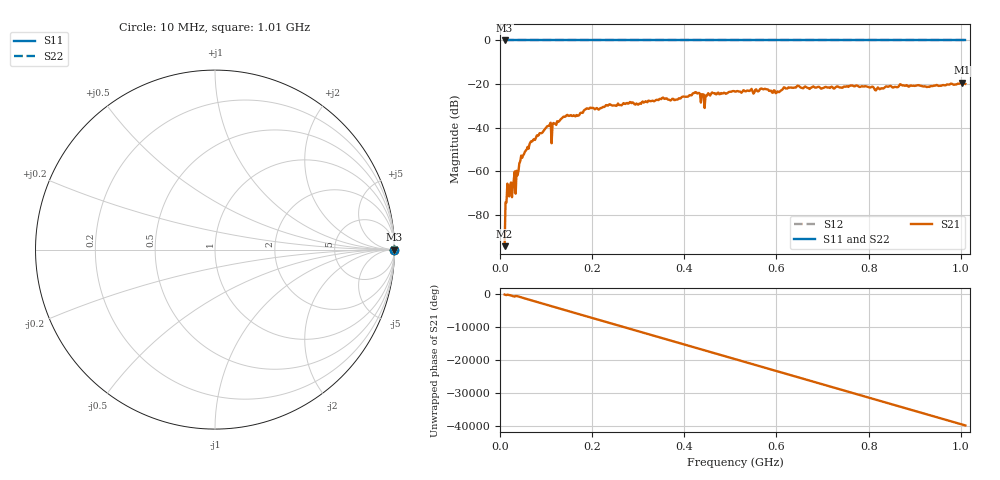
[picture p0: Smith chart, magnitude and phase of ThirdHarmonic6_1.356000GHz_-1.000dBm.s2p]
! 8/16/2025 3:17:35 PM
! C:\ANRITSUVNA\TEMP\TEMP.S2P
! CHANNEL.1
! TR.MEASUREMENT
! RAW.DATA
! RF.CORRECTION.OFF
! AVERAGING.OFF
! IF.BANDWIDTH: 5KHZ
! SWEEPTYPE:  FREQ.SWEEP(Linear)
! Reference Plane Port Info
! PORT:  PORT1  PORT2
! DISTANCE:  0  m  0  m
! TIME:  0  s  0  s
! PHASE.OFFSET:  0  deg.  0  deg.
! LOSS:  0  dB  0  dB
! REF.LOSS:  0  dB  0  dB
! REF.FREQ:  0  Hz  0  Hz
! Power Info
! POWER:  -20  dBm  -20  dBm
! EFF.POWER:  -20  dBm  -20  dBm
! SOURCE.ATTEN:  0  dB  0  dB
! TEST.ATTEN:  0  dB  0  dB
# GHZ S RI R 50.0
! FREQ.GHZ  S11RE  S11IM  S21RE  S21IM  S12RE  S12IM  S22RE  S22IM
!; PortSelection: Port_12
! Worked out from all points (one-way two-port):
!   501 points, 10 MHz to 1.01 GHz, reference 50 ohm
!   highest |S21| = -19.37 dB at 1.002 GHz (marker M1); lowest = -94.5 dB at 10 MHz (marker M2)
!   lowest |S11| = 0.0 dB at 10 MHz (marker M3)
!   |S11| at or under -10 dB: nowhere
!   |S22| runs from 0.0 to 0.0 dB; largest |S21 - S12| = 1.1
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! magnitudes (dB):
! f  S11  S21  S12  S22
! 10 MHz  0.0  -94.5  0.0  0.0
! 20 MHz  0.0  -71.7  0.0  0.0
! 22 MHz  0.0  -66.6  0.0  0.0
! 28 MHz  0.0  -66.9  0.0  0.0
! 30 MHz  0.0  -63.8  0.0  0.0
! 46 MHz  0.0  -52.9  0.0  0.0
! 68 MHz  0.0  -46.3  0.0  0.0
! 106 MHz  0.0  -39.2  0.0  0.0
! 116 MHz  0.0  -37.9  0.0  0.0
! 142 MHz  0.0  -35.0  0.0  0.0
! 178 MHz  0.0  -33.3  0.0  0.0
! 344 MHz  0.0  -27.4  0.0  0.0
! 382 MHz  0.0  -27.2  0.0  0.0
! 424 MHz  0.0  -23.7  0.0  0.0
! 440 MHz  0.0  -24.8  0.0  0.0
! 462 MHz  0.0  -24.1  0.0  0.0
! 510 MHz  0.0  -23.5  0.0  0.0
! 602 MHz  0.0  -23.4  0.0  0.0
! 678 MHz  0.0  -21.3  0.0  0.0
! 844 MHz  0.0  -21.1  0.0  0.0
! 1.002 GHz  0.0  -19.4  0.0  0.0
! 1.01 GHz  0.0  -19.9  0.0  0.0
